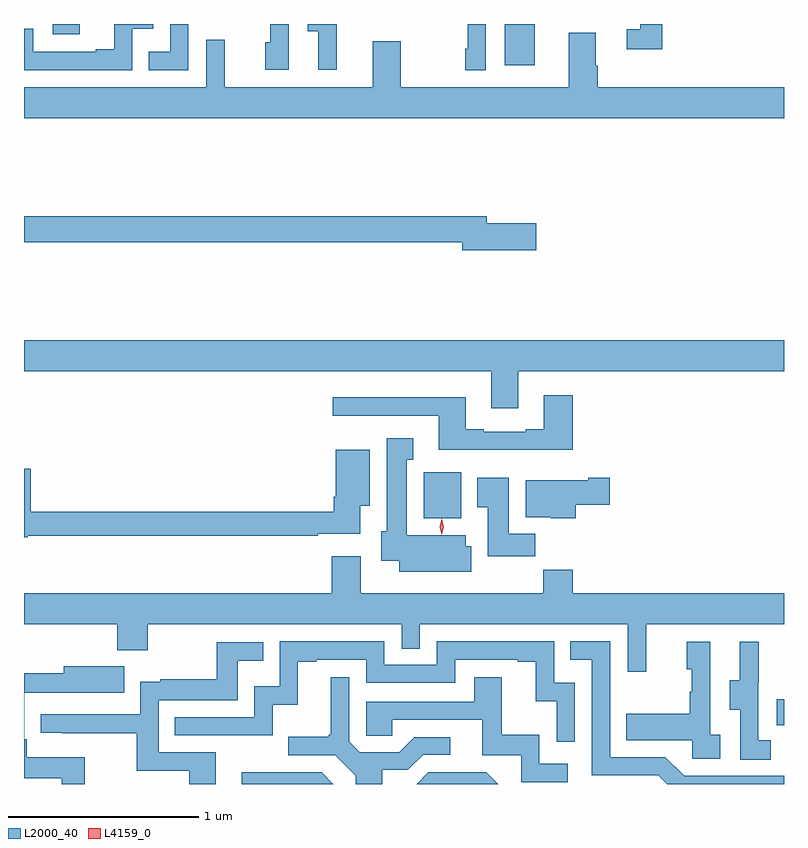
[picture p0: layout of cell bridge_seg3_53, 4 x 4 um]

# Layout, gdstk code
import gdstk
lib = gdstk.Library(unit=1e-6, precision=1e-09)
def R(c, l, rs):  # rectangles x0, y0, x1, y1
    for r in rs: c.add(gdstk.rectangle(r[:2], r[2:], *l))
def P(c, l, *ps):  # polygons
    for p in ps: c.add(gdstk.Polygon(p, *l))
L2000_40 = (2000, 40)
L4159_0 = (4159, 0)

bridge_seg3_53 = lib.new_cell('bridge_seg3_53')
R(bridge_seg3_53, L2000_40, [(989.065,701.717,989.103,701.854), (987.206,702.806,987.403,703.048), (987.632,705.192,987.79,705.408), (985.253,705.354,985.397,705.408)])
P(bridge_seg3_53, L2000_40, [(985.674,705.384),(985.782,705.384),(985.782,705.408),(985.577,705.408),(985.577,705.274),(985.481,705.274),(985.481,705.261),(985.152,705.261),(985.152,705.384),(985.103,705.384),(985.103,705.165),(985.674,705.165)],
  [(986.496,705.408),(986.398,705.408),(986.398,705.312),(986.372,705.312),(986.372,705.168),(986.496,705.168)],
  [(986.75,705.381),(986.748,705.381),(986.748,705.408),(986.597,705.408),(986.597,705.37),(986.651,705.37),(986.651,705.168),(986.75,705.168)],
  [(988.463,705.408),(988.347,705.408),(988.347,705.381),(988.275,705.381),(988.275,705.276),(988.463,705.276)],
  [(987.534,705.408),(987.438,705.408),(987.438,705.277),(987.426,705.277),(987.426,705.165),(987.534,705.165)],
  [(985.968,705.408),(985.872,705.408),(985.872,705.261),(985.759,705.261),(985.759,705.165),(985.968,705.165)],
  [(989.103,705.076),(988.124,705.076),(988.124,705.188),(988.111,705.188),(988.111,705.362),(987.971,705.362),(987.971,705.076),(987.087,705.076),(987.087,705.316),(986.939,705.316),(986.939,705.076),(986.159,705.076),(986.159,705.325),(986.061,705.325),(986.061,705.076),(985.103,705.076),(985.103,704.912),(989.103,704.912)],
  [(987.799,704.36),(987.538,704.36),(987.538,704.396),(985.103,704.396),(985.103,704.26),(987.41,704.26),(987.41,704.218),(987.799,704.218)],
  [(987.703,703.58),(989.103,703.58),(989.103,703.744),(985.103,703.744),(985.103,703.58),(987.563,703.58),(987.563,703.386),(987.703,703.386)],
  [(987.992,703.453),(987.839,703.453),(987.839,703.276),(987.743,703.276),(987.743,703.263),(987.523,703.263),(987.523,703.276),(987.427,703.276),(987.427,703.444),(986.727,703.444),(986.727,703.347),(987.287,703.347),(987.287,703.166),(987.992,703.166)],
  [(987.457,702.659),(987.427,702.659),(987.427,702.718),(987.118,702.718),(987.118,703.115),(987.151,703.115),(987.151,703.228),(987.011,703.228),(987.011,702.738),(986.984,702.738),(986.984,702.584),(987.077,702.584),(987.077,702.524),(987.457,702.524)],
  [(985.122,702.714),(986.648,702.714),(986.648,702.726),(986.872,702.726),(986.872,702.872),(986.923,702.872),(986.923,703.168),(986.744,703.168),(986.744,702.919),(986.732,702.919),(986.732,702.842),(985.139,702.842),(985.139,703.066),(985.103,703.066),(985.103,702.706),(985.122,702.706)],
  [(987.794,702.724),(987.655,702.724),(987.655,703.021),(987.488,703.021),(987.488,702.865),(987.545,702.865),(987.545,702.606),(987.794,702.606)],
  [(988.007,702.877),(988.186,702.877),(988.186,703.019),(988.073,703.019),(988.073,703.006),(987.743,703.006),(987.743,702.812),(987.876,702.812),(987.876,702.806),(988.007,702.806)],
  [(988.379,702.248),(989.103,702.248),(989.103,702.412),(987.992,702.412),(987.992,702.536),(987.835,702.536),(987.835,702.412),(986.875,702.412),(986.875,702.607),(986.723,702.607),(986.723,702.412),(985.103,702.412),(985.103,702.248),(985.595,702.248),(985.595,702.113),(985.755,702.113),(985.755,702.248),(987.09,702.248),(987.09,702.121),(987.186,702.121),(987.186,702.248),(988.281,702.248),(988.281,702),(988.379,702)],
  [(988.002,701.94),(987.894,701.94),(987.894,702.159),(987.276,702.159),(987.276,702.036),(987,702.036),(987,702.159),(986.448,702.159),(986.448,701.923),(986.316,701.923),(986.316,701.76),(985.897,701.76),(985.897,701.664),(986.412,701.664),(986.412,701.825),(986.545,701.825),(986.545,702.051),(986.641,702.051),(986.641,702.063),(986.904,702.063),(986.904,701.94),(987.372,701.94),(987.372,702.063),(987.701,702.063),(987.701,702.051),(987.797,702.051),(987.797,701.843),(987.906,701.843),(987.906,701.631),(988.002,701.631)],
  [(989.103,701.451),(988.578,701.451),(988.479,701.55),(988.188,701.55),(988.188,702.159),(987.979,702.159),(987.979,702.063),(988.092,702.063),(988.092,701.454),(988.442,701.454),(988.488,701.408),(989.103,701.408)],
  [(988.768,701.666),(988.716,701.666),(988.716,702.157),(988.592,702.157),(988.592,702.012),(988.618,702.012),(988.618,701.894),(988.608,701.894),(988.608,701.779),(988.273,701.779),(988.273,701.639),(988.62,701.639),(988.62,701.541),(988.768,701.541)],
  [(989.032,701.639),(988.968,701.639),(988.968,701.943),(988.97,701.943),(988.97,702.157),(988.871,702.157),(988.871,701.955),(988.817,701.955),(988.817,701.8),(988.872,701.8),(988.872,701.536),(989.032,701.536)],
  [(986.113,701.574),(985.812,701.574),(985.812,701.85),(986.229,701.85),(986.229,702.056),(986.363,702.056),(986.363,702.153),(986.118,702.153),(986.118,701.959),(985.819,701.959),(985.819,701.947),(985.716,701.947),(985.716,701.775),(985.191,701.775),(985.191,701.679),(985.303,701.679),(985.303,701.674),(985.696,701.674),(985.696,701.478),(985.973,701.478),(985.973,701.408),(986.113,701.408)],
  [(985.423,701.548),(985.118,701.548),(985.118,701.644),(985.104,701.644),(985.104,701.889),(985.417,701.889),(985.417,701.888),(985.631,701.888),(985.631,702.028),(985.313,702.028),(985.313,701.99),(985.103,701.99),(985.103,701.439),(985.302,701.439),(985.302,701.408),(985.423,701.408)],
  [(987.964,701.514),(987.816,701.514),(987.816,701.668),(987.617,701.668),(987.617,701.971),(987.473,701.971),(987.473,701.841),(986.904,701.841),(986.904,701.661),(987.041,701.661),(987.041,701.745),(987.515,701.745),(987.515,701.559),(987.72,701.559),(987.72,701.418),(987.964,701.418)],
  [(986.989,701.482),(987.124,701.482),(987.204,701.562),(987.346,701.562),(987.346,701.655),(987.158,701.655),(987.077,701.574),(986.871,701.574),(986.814,701.631),(986.814,701.971),(986.717,701.971),(986.717,701.668),(986.706,701.668),(986.706,701.656),(986.493,701.656),(986.493,701.559),(986.742,701.559),(986.849,701.452),(986.849,701.408),(986.989,701.408)],
  [(986.67,701.469),(986.454,701.469),(986.454,701.471),(986.249,701.471),(986.249,701.408),(986.731,701.408)],
  [(987.537,701.469),(987.231,701.469),(987.17,701.408),(987.598,701.408)])
P(bridge_seg3_53, L4159_0, [(987.301,702.722),(987.301,702.722),(987.292,702.763),(987.302,702.803),(987.302,702.803),(987.302,702.803),(987.311,702.762),(987.301,702.722)])

lib.write_gds('bridge_seg3_53.gds')
